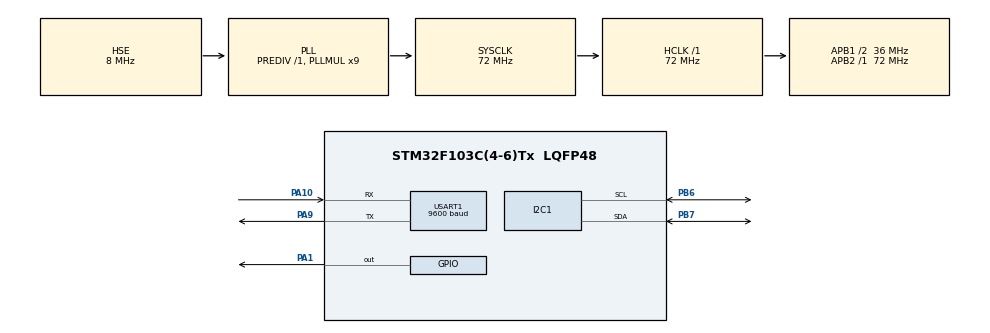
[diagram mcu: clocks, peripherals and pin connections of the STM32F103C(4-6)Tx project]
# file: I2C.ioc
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Mcu.Family=STM32F1
Mcu.Name=STM32F103C(4-6)Tx
Mcu.Package=LQFP48
NVIC.PriorityGroup=NVIC_PRIORITYGROUP_4
PA1.Signal=GPIO_Output
PA10.Mode=Asynchronous
PA10.Signal=USART1_RX
PA13.Mode=Serial_Wire
PA13.Signal=SYS_JTMS-SWDIO
PA14.Mode=Serial_Wire
PA14.Signal=SYS_JTCK-SWCLK
PA9.Mode=Asynchronous
PA9.Signal=USART1_TX
PB6.Mode=I2C
PB6.Signal=I2C1_SCL
PB7.Mode=I2C
PB7.Signal=I2C1_SDA
PD0-OSC_IN.Mode=HSE-External-Oscillator
PD0-OSC_IN.Signal=RCC_OSC_IN
PD1-OSC_OUT.Mode=HSE-External-Oscillator
PD1-OSC_OUT.Signal=RCC_OSC_OUT
ProjectManager.HeapSize=0x200
ProjectManager.StackSize=0x400
ProjectManager.TargetToolchain=Makefile
RCC.AHBFreq_Value=72000000
RCC.APB1CLKDivider=RCC_HCLK_DIV2
RCC.APB1Freq_Value=36000000
RCC.APB1TimFreq_Value=72000000
RCC.APB2Freq_Value=72000000
RCC.APB2TimFreq_Value=72000000
RCC.HCLKFreq_Value=72000000
RCC.PLLMUL=RCC_PLL_MUL9
RCC.PLLSourceVirtual=RCC_PLLSOURCE_HSE
RCC.SYSCLKFreq_VALUE=72000000
RCC.SYSCLKSource=RCC_SYSCLKSOURCE_PLLCLK
RCC.USBFreq_Value=72000000
USART1.BaudRate=9600
USART1.VirtualMode=VM_ASYNC
board=custom

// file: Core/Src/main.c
/* USER CODE BEGIN Header */
/**
  ******************************************************************************
  * @file           : main.c
  * @brief          : Main program body
  ******************************************************************************
  * @attention
  *
  * Copyright (c) 2024 STMicroelectronics.
  * All rights reserved.
  *
  * This software is licensed under terms that can be found in the LICENSE file
  * in the root directory of this software component.
  * If no LICENSE file comes with this software, it is provided AS-IS.
  *
  ******************************************************************************
  */
/* USER CODE END Header */
#include "main.h"

/* USER CODE BEGIN Includes */
#include<stdio.h>
#include"string.h"
/* USER CODE END Includes */

I2C_HandleTypeDef hi2c1;

UART_HandleTypeDef huart1;

void SystemClock_Config(void);
static void MX_GPIO_Init(void);
static void MX_I2C1_Init(void);
static void MX_USART1_UART_Init(void);

/* USER CODE BEGIN 0 */
const uint8_t DS1307_ADDRESS = 0xD0;
uint8_t seconds;
uint8_t minutes;
uint8_t hours;
void DS1307_GetTime(uint8_t *hours, uint8_t *minutes, uint8_t *seconds)
{
    uint8_t data[3];
   	uint8_t reg = 0x00;
	HAL_I2C_Master_Transmit(&hi2c1, DS1307_ADDRESS, &reg, 1, 10);
	HAL_I2C_Master_Receive(&hi2c1, DS1307_ADDRESS, data, 3, 50);
    *seconds = ((data[0] >> 4) * 10) + (data[0] & 0x0F);
    *minutes = ((data[1] >> 4) * 10) + (data[1] & 0x0F);
    *hours   = ((data[2] >> 4) * 10) + (data[2] & 0x0F);
}

void lcd_send_cmd(uint8_t cmd)
{
    uint8_t data_u, data_l;
    uint8_t data_t[4];

    data_u = (cmd & 0xF0);  // Lấy 4 bit cao
    data_l = ((cmd << 4) & 0xF0);  // Lấy 4 bit thấp

    // Gửi 4 bit cao trước
    data_t[0] = data_u | 0x04;  // Bật đèn nền, Enable = 1, RS = 0 (lệnh)
    data_t[1] = data_u | 0x00;         // Bật đèn nền, Enable = 0, RS = 0 (lệnh)

    // Gửi 4 bit thấp sau
    data_t[2] = data_l | 0x04;  // Bật đèn nền, Enable = 1, RS = 0 (lệnh)
    data_t[3] = data_l | 0x00;         // Bật đèn nền, Enable = 0, RS = 0 (lệnh)

    HAL_I2C_Master_Transmit(&hi2c1, 0x4E, data_t, 4, 100);  // Gửi dữ liệu đến LCD qua I2C
}

void lcd_send_data(uint8_t data)
{
    uint8_t data_u, data_l;
    uint8_t data_t[4];

    data_u = (data & 0xF0);  // Lấy 4 bit cao
    data_l = ((data << 4) & 0xF0);  // Lấy 4 bit thấp

    // Gửi 4 bit cao trước
    data_t[0] = data_u | 0x05;  // Bật đèn nền, Enable = 1, RS = 1 (dữ liệu)
    data_t[1] = data_u | 0x01;  // Bật đèn nền, Enable = 0, RS = 1 (dữ liệu)

    // Gửi 4 bit thấp sau
    data_t[2] = data_l | 0x05;  // Bật đèn nền, Enable = 1, RS = 1 (dữ liệu)
    data_t[3] = data_l | 0x01;  // Bật đènền, Enable = 0, RS = 1 (dữ liệu)

    HAL_I2C_Master_Transmit(&hi2c1, 0x4E, data_t, 4, 100);  // Gửi dữ liệu đến LCD qua I2C
}

void lcd_init(void)
{
    // Đợi LCD khởi động
    HAL_Delay(50);

    // Khởi tạo chế độ 4-bit
    lcd_send_cmd(0x30);
    HAL_Delay(5);
    lcd_send_cmd(0x30);
    HAL_Delay(1);
    lcd_send_cmd(0x30);
    lcd_send_cmd(0x20);  // Chuyển sang chế độ 4-bit

    // Cấu hình màn hình
    lcd_send_cmd(0x28);  // Chế độ 4-bit, 2 dòng, 5x8 font
    lcd_send_cmd(0x0C);  // Bật màn hình, tắt con trỏ, không nhấp nháy
    lcd_send_cmd(0x01);  // Xóa màn hình
    HAL_Delay(2);
    lcd_send_cmd(0x06);  // Chế độ nhập từ trái sang phải, không dịch màn hình
}

void lcd_clear(void)
{
    lcd_send_cmd(0x01);  // Lệnh xóa màn hình
    HAL_Delay(2);
}

void lcd_put_cur(int row, int col)
{
    uint8_t addr = (row == 0) ? (0x80 + col) : (0xC0 + col);  // Đặt con trỏ
    lcd_send_cmd(addr);
}

void lcd_send_string(char *str)
{
    while (*str)
    {
        lcd_send_data(*str++);  // Gửi từng ký tự một
    }
}

uint8_t BCD_to_Dec(uint8_t val) {
    return ((val / 16 * 10) + (val % 16));
}
void get_seconds(uint8_t* seconds)
{
	uint8_t buffer;

	HAL_I2C_Mem_Read(&hi2c1, DS1307_ADDRESS,0x00,1,&buffer,1,10);

	//buffer = buffer & 0x7F;
	*seconds = BCD_to_Dec(buffer);
}
/* USER CODE END 0 */

int main(void)
{

  /* MCU Configuration--------------------------------------------------------*/

  /* Reset of all peripherals, Initializes the Flash interface and the Systick. */
  HAL_Init();

  /* Configure the system clock */
  SystemClock_Config();

  /* Initialize all configured peripherals */
  MX_GPIO_Init();
  MX_I2C1_Init();
  MX_USART1_UART_Init();
  /* USER CODE BEGIN 2 */
	uint8_t data_trans[100];
	lcd_init();
	lcd_put_cur(0,0);
	lcd_send_string("hello");
	uint8_t seconds;
	uint8_t sec = 0x81;
	HAL_I2C_Mem_Write(&hi2c1, DS1307_ADDRESS,0x00,1,&sec,1,10);
  /* USER CODE END 2 */

  /* Infinite loop */
  /* USER CODE BEGIN WHILE */
  while (1)
  {
    /* USER CODE END<F9 WHILE */

    /* USER CODE BEGIN 3 */
  	get_seconds(&seconds);

	HAL_UART_Transmit(&huart1,&seconds,1,100);
	HAL_Delay(1000);  }
  /* USER CODE END 3 */
}

void SystemClock_Config(void)
{
  RCC_OscInitTypeDef RCC_OscInitStruct = {0};
  RCC_ClkInitTypeDef RCC_ClkInitStruct = {0};

  /** Initializes the RCC Oscillators according to the specified parameters
  * in the RCC_OscInitTypeDef structure.
  */
  RCC_OscInitStruct.OscillatorType = RCC_OSCILLATORTYPE_HSE;
  RCC_OscInitStruct.HSEState = RCC_HSE_ON;
  RCC_OscInitStruct.HSEPredivValue = RCC_HSE_PREDIV_DIV1;
  RCC_OscInitStruct.HSIState = RCC_HSI_ON;
  RCC_OscInitStruct.PLL.PLLState = RCC_PLL_ON;
  RCC_OscInitStruct.PLL.PLLSource = RCC_PLLSOURCE_HSE;
  RCC_OscInitStruct.PLL.PLLMUL = RCC_PLL_MUL9;
  if (HAL_RCC_OscConfig(&RCC_OscInitStruct) != HAL_OK)
  {
    Error_Handler();
  }

  /** Initializes the CPU, AHB and APB buses clocks
  */
  RCC_ClkInitStruct.ClockType = RCC_CLOCKTYPE_HCLK|RCC_CLOCKTYPE_SYSCLK
                              |RCC_CLOCKTYPE_PCLK1|RCC_CLOCKTYPE_PCLK2;
  RCC_ClkInitStruct.SYSCLKSource = RCC_SYSCLKSOURCE_PLLCLK;
  RCC_ClkInitStruct.AHBCLKDivider = RCC_SYSCLK_DIV1;
  RCC_ClkInitStruct.APB1CLKDivider = RCC_HCLK_DIV2;
  RCC_ClkInitStruct.APB2CLKDivider = RCC_HCLK_DIV1;

  if (HAL_RCC_ClockConfig(&RCC_ClkInitStruct, FLASH_LATENCY_2) != HAL_OK)
  {
    Error_Handler();
  }
}

static void MX_I2C1_Init(void)
{

  hi2c1.Instance = I2C1;
  hi2c1.Init.ClockSpeed = 100000;
  hi2c1.Init.DutyCycle = I2C_DUTYCYCLE_2;
  hi2c1.Init.OwnAddress1 = 0;
  hi2c1.Init.AddressingMode = I2C_ADDRESSINGMODE_7BIT;
  hi2c1.Init.DualAddressMode = I2C_DUALADDRESS_DISABLE;
  hi2c1.Init.OwnAddress2 = 0;
  hi2c1.Init.GeneralCallMode = I2C_GENERALCALL_DISABLE;
  hi2c1.Init.NoStretchMode = I2C_NOSTRETCH_DISABLE;
  if (HAL_I2C_Init(&hi2c1) != HAL_OK)
  {
    Error_Handler();
  }

}

static void MX_USART1_UART_Init(void)
{

  huart1.Instance = USART1;
  huart1.Init.BaudRate = 9600;
  huart1.Init.WordLength = UART_WORDLENGTH_8B;
  huart1.Init.StopBits = UART_STOPBITS_1;
  huart1.Init.Parity = UART_PARITY_NONE;
  huart1.Init.Mode = UART_MODE_TX_RX;
  huart1.Init.HwFlowCtl = UART_HWCONTROL_NONE;
  huart1.Init.OverSampling = UART_OVERSAMPLING_16;
  if (HAL_UART_Init(&huart1) != HAL_OK)
  {
    Error_Handler();
  }

}

static void MX_GPIO_Init(void)
{
  GPIO_InitTypeDef GPIO_InitStruct = {0};

  /* GPIO Ports Clock Enable */
  __HAL_RCC_GPIOD_CLK_ENABLE();
  __HAL_RCC_GPIOA_CLK_ENABLE();
  __HAL_RCC_GPIOB_CLK_ENABLE();

  /*Configure GPIO pin Output Level */
  HAL_GPIO_WritePin(GPIOA, GPIO_PIN_1, GPIO_PIN_RESET);

  /*Configure GPIO pin : PA1 */
  GPIO_InitStruct.Pin = GPIO_PIN_1;
  GPIO_InitStruct.Mode = GPIO_MODE_OUTPUT_PP;
  GPIO_InitStruct.Pull = GPIO_NOPULL;
  GPIO_InitStruct.Speed = GPIO_SPEED_FREQ_LOW;
  HAL_GPIO_Init(GPIOA, &GPIO_InitStruct);

}

void Error_Handler(void)
{
  __disable_irq();
  while (1)
  {
  }
}
